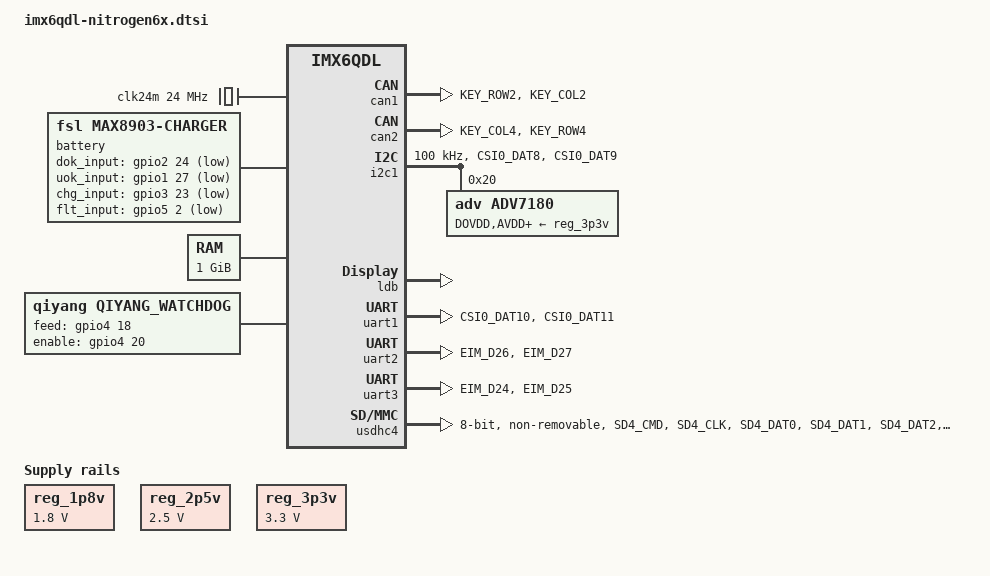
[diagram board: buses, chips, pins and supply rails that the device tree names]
/*
 * Copyright 2013-2016 Boundary Devices, Inc.
 * Copyright 2011-2015 Freescale Semiconductor, Inc.
 * Copyright 2011 Linaro Ltd.
 *
 * The code contained herein is licensed under the GNU General Public
 * License. You may obtain a copy of the GNU General Public License
 * Version 2 or later at the following locations:
 *
 * http://www.opensource.org/licenses/gpl-license.html
 * http://www.gnu.org/copyleft/gpl.html
 */
#include <dt-bindings/gpio/gpio.h>
#include <dt-bindings/input/input.h>

&iomuxc {
	pinctrl-names = "default";
	pinctrl-0 = <&pinctrl_hog>;

	iomuxc_imx6q_nitrogen6x: iomuxc-imx6q-nitrogen6xgrp {
		status = "okay";
	};
};

&iomuxc_imx6q_nitrogen6x {	
	
	pinctrl_flexcan1: flexcan1grp {
		fsl,pins = <
			MX6QDL_PAD_KEY_ROW2__FLEXCAN1_RX        0x17059
			MX6QDL_PAD_KEY_COL2__FLEXCAN1_TX	0x17059
		>;
	};

	pinctrl_flexcan2: flexcan2grp {
		fsl,pins = <
			MX6QDL_PAD_KEY_COL4__FLEXCAN2_TX	0x17059
			MX6QDL_PAD_KEY_ROW4__FLEXCAN2_RX	0x17059
		>;
	};


	pinctrl_hog: hoggrp {
		fsl,pins = <
			MX6QDL_PAD_NANDF_CS0__GPIO6_IO11 0x80000000	//U29 LM4871 control
			MX6QDL_PAD_NANDF_CS1__GPIO6_IO14 0x80000000	//U30 LM4871 control
			MX6QDL_PAD_GPIO_2__GPIO1_IO02 0x80000000	//buzzer
		    MX6QDL_PAD_DI0_PIN2__GPIO4_IO18 0x80000000	//feed_dog pin
			MX6QDL_PAD_DI0_PIN4__GPIO4_IO20 0x80000000	//enable pin
		>;
	};

	pinctrl_i2c1: i2c1grp {
		fsl,pins = <
			MX6QDL_PAD_CSI0_DAT8__I2C1_SDA		0x4001b8b1
			MX6QDL_PAD_CSI0_DAT9__I2C1_SCL		0x4001b8b1
		>;
	};

	pinctrl_i2c3_adv7180_gpios: i2c3-adv7180_gpiosgrp {
		fsl,pins = <
			/* No data enable pin, make sure it is not selected */
			// MX6QDL_PAD_EIM_DA10__GPIO3_IO10		0x0b0b1
#define GP_ADV7180_PWN		<&gpio5 20 GPIO_ACTIVE_LOW>
			MX6QDL_PAD_CSI0_DATA_EN__GPIO5_IO20 0x80000000
		>;
	};

	pinctrl_i2c3_adv7180: i2c3-adv7180grp {
		/* parallel camera on CSI1, pins differ for iMX6Q/iMX6DL */
	};

	pinctrl_i2c3_adv7180_cea861: i2c3-adv7180_cea861grp {
		/* parallel camera on CSI1, pins differ for iMX6Q/iMX6DL */
	};

	pinctrl_i2c3_adv7180_no_cea861: i2c3-adv7180_no_cea861grp {
		
	};

	
	pinctrl_uart1: uart1grp {
		fsl,pins = <
			MX6QDL_PAD_CSI0_DAT10__UART1_TX_DATA	0x1b0b1
			MX6QDL_PAD_CSI0_DAT11__UART1_RX_DATA	0x1b0b1
		>;
	};

        pinctrl_uart2: uart2grp {
		fsl,pins = <
			MX6QDL_PAD_EIM_D26__UART2_TX_DATA       0x1b0b1
			MX6QDL_PAD_EIM_D27__UART2_RX_DATA       0x1b0b1
		>;
	};

        pinctrl_uart3: uart3grp {
		fsl,pins = <
			MX6QDL_PAD_EIM_D24__UART3_TX_DATA       0x1b0b1
			MX6QDL_PAD_EIM_D25__UART3_RX_DATA       0x1b0b1
		>;
	};

	
	pinctrl_usdhc4: usdhc4grp {
		fsl,pins = <
			MX6QDL_PAD_SD4_CMD__SD4_CMD		0x17059
			MX6QDL_PAD_SD4_CLK__SD4_CLK		0x10059
			MX6QDL_PAD_SD4_DAT0__SD4_DATA0		0x17059
			MX6QDL_PAD_SD4_DAT1__SD4_DATA1		0x17059
			MX6QDL_PAD_SD4_DAT2__SD4_DATA2		0x17059
			MX6QDL_PAD_SD4_DAT3__SD4_DATA3		0x17059
			MX6QDL_PAD_SD4_DAT4__SD4_DATA4		0x17059
			MX6QDL_PAD_SD4_DAT5__SD4_DATA5		0x17059
			MX6QDL_PAD_SD4_DAT6__SD4_DATA6		0x17059
			MX6QDL_PAD_SD4_DAT7__SD4_DATA7		0x17059
		>;
	};
};

/ {
	aliases {
		fb_lvds = &fb_lvds;
		ldb = &ldb;
		mmc3 = &usdhc4;
		serial0 = &uart1;
		serial1 = &uart2;
		serial2 = &uart3;
		mxcfb0 = &fb_lvds;

		can0 = &can1;
		can1 = &can2;
		i2c0 = &i2c1;
	};
	
	/*
	backlight_lcd: backlight_lcd {
		brightness-levels = <0 1 2 3 4 5 6 7 8 9 10>;
		compatible = "pwm-backlight";
		default-brightness-level = <8>;
		display = <&fb_lcd>;
		power-supply = <&reg_3p3v>;
		pwms = <&pwm1 0 5000000>;
		status = "disabled";
	};

	backlight_lvds: backlight_lvds {
		brightness-levels = <0 1 2 3 4 5 6 7 8 9 10>;
		compatible = "pwm-backlight";
		default-brightness-level = <8>;
		display = <&fb_lvds>;
		power-supply = <&reg_3p3v>;
		pwms = <&pwm4 0 5000000>;
		status = "disabled";
	};
	*/

	/* bluetooth */
	/*bt_rfkill {
		compatible = "net,rfkill-gpio";
		pinctrl-names = "default";
		pinctrl-0 = <&pinctrl_bt_rfkill>;
		name = "bt_rfkill";
		type = <2>;	
		reset-gpios = GP_BT_RFKILL_RESET;
	};*/

	chosen {
		stdout-path = &uart1;
		bootargs="noinitrd console=ttymxc0,115200 root=/dev/mmcblk3p2 rootwait ro quiet";
	};

	clocks {
		clk24m: clk24m {
			compatible = "fixed-clock";
			#clock-cells = <0>;
			clock-frequency = <24000000>;
		};
	};

	fb_lvds: fb@0 {
		compatible = "fsl,mxc_sdc_fb";
		disp_dev = "ldb";
		interface_pix_fmt = "RGB24";
		mode_str ="1920x720M@60";
		default_bpp = <32>;
		int_clk = <0>;
		late_init = <0>;
		status = "okay";
	};

	/*
	gpio-keys {
		compatible = "gpio-keys";
		pinctrl-names = "default";
		pinctrl-0 = <&pinctrl_gpio_keys>;

		back {
			label = "Back";
			gpios = GP_GPIOKEY_BACK;
			linux,code = <KEY_BACK>;
		};

		home {
			label = "Home";
			gpios = GP_GPIOKEY_HOME;
			linux,code = <KEY_HOMEPAGE>;
		};

		menu {
			label = "Menu";
			gpios = GP_GPIOKEY_MENU;
			linux,code = <KEY_MENU>;
		};

		power {
			label = "Power Button";
			gpios = GP_GPIOKEY_POWER;
			linux,code = <KEY_POWER>;
			gpio-key,wakeup;
		};

		volume-down {
			label = "Volume Down";
			gpios = GP_GPIOKEY_VOL_DN;
			linux,code = <KEY_VOLUMEDOWN>;
		};

		volume-up {
			label = "Volume Up";
			gpios = GP_GPIOKEY_VOL_UP;
			linux,code = <KEY_VOLUMEUP>;
		};
	};

	lcd: lcd@0 {
		compatible = "fsl,lcd";
		ipu_id = <0>;
		disp_id = <0>;
		default_ifmt = "RGB666";
		pinctrl-names = "default", "rgb24";
		pinctrl-0 = <&pinctrl_lcd0_rgb>;
		pinctrl-1 = <&pinctrl_lcd0_rgb &pinctrl_lcd0_rgb24>;
		status = "okay";
	};*/

	battery: max8903@0 {
		compatible = "fsl,max8903-charger";
		pinctrl-names = "default";
		dok_input = <&gpio2 24 1>;
		uok_input = <&gpio1 27 1>;
		chg_input = <&gpio3 23 1>;
		flt_input = <&gpio5 2 1>;
		fsl,dcm_always_high;
		fsl,dc_valid;
		fsl,usb_valid;
		status = "okay";
	};

	memory {
		reg = <0x10000000 0x40000000>;
	};

	watchdog {
		compatible = "qiyang,qiyang_watchdog";
		feed-gpios = <&gpio4 18 0>;
		enable-gpios = <&gpio4 20 0>;
		status = "okay";
	};

	regulators {
		compatible = "simple-bus";
		#address-cells = <1>;
		#size-cells = <0>;

		reg_1p8v: regulator@0 {
			compatible = "regulator-fixed";
			reg = <0>;
			regulator-name = "1P8V";
			regulator-min-microvolt = <1800000>;
			regulator-max-microvolt = <1800000>;
			regulator-always-on;
		};

		reg_2p5v: regulator@1 {
			compatible = "regulator-fixed";
			reg = <1>;
			regulator-name = "2P5V";
			regulator-min-microvolt = <2500000>;
			regulator-max-microvolt = <2500000>;
			regulator-always-on;
		};

		reg_3p3v: regulator@2 {
			compatible = "regulator-fixed";
			reg = <2>;
			regulator-name = "3P3V";
			regulator-min-microvolt = <3300000>;
			regulator-max-microvolt = <3300000>;
			regulator-always-on;
		};


	};

	sound {
		compatible = "fsl,imx-audio-tlv320aic3x",
			 "fsl,imx-audio-tlv320aic3x";
		model = "tlv320aic3x-audio";
		cpu-dai = <&ssi1>;
		//audio-codec = <&codec>;
		asrc-controller = <&asrc>;
		audio-routing =
				"Headphone Jack", "HPOUTL",
				"Headphone Jack", "HPOUTR",
			"Ext Spk", "SPKOUTL",
				"Ext Spk", "SPKOUTR",
				"AMIC", "MICBIAS",
				"IN3R", "AMIC",
				"DMIC", "MICBIAS",
				"DMICDAT", "DMIC",
				"CPU-Playback", "ASRC-Playback",
				"Playback", "CPU-Playback",
				"ASRC-Capture", "CPU-Capture",
				"CPU-Capture", "Capture";
		mux-int-port = <1>;
		mux-ext-port = <3>;
	};

	sound-hdmi {
		compatible = "fsl,imx6q-audio-hdmi",
			     "fsl,imx-audio-hdmi";
		model = "imx-audio-hdmi";
		hdmi-controller = <&hdmi_audio>;
	};

	sound-hdmi-input {
		status = "disabled";
	};

	v4l2_cap_0: v4l2_cap_0 {
		compatible = "fsl,imx6q-v4l2-capture";
		ipu_id = <0>;
		csi_id = <0>;
		mclk_source = <0>;
		status = "okay";
	};

	v4l2_cap_1: v4l2_cap_1 {
		compatible = "fsl,imx6q-v4l2-capture";
		ipu_id = <0>;
		csi_id = <1>;
		mipi_camera = <1>;
		mclk_source = <0>;
		status = "okay";
	};

	v4l2_cap_2: v4l2_cap_2 {
		compatible = "fsl,imx6q-v4l2-capture";
		ipu_id = <0>;
		csi_id = <1>;
		mclk_source = <0>;
		status = "okay";
	};

	v4l2_cap_3: v4l2_cap_3 {
		compatible = "fsl,imx6q-v4l2-capture";
		ipu_id = <0>;
		csi_id = <0>;
		mipi_camera = <1>;
		mclk_source = <0>;
		status = "okay";
	};

	v4l2_out {
		compatible = "fsl,mxc_v4l2_output";
		status = "okay";
	};
};

&audmux {
	status = "disabled";
};

&can1 {
	pinctrl-names = "default";
	pinctrl-0 = <&pinctrl_flexcan1>;
	status = "okay";
};

&can2 {
	pinctrl-names = "default";
	pinctrl-0 = <&pinctrl_flexcan2>;
	status = "okay";
};

&ecspi1 {
	status = "disabled";

};

&fec {
	status = "disabled";
};

&hdmi_audio {
	status = "disabled";
};

&hdmi_core {
	status = "disabled";
};

&hdmi_video {
	status = "disabled";
};

&i2c1 {
	clock-frequency = <100000>;
	pinctrl-names = "default";
	pinctrl-0 = <&pinctrl_i2c1>;
	status = "okay";

	adv7180: adv7180@20 {
		compatible = "adv,adv7180";
		reg = <0x20>;
		pinctrl-names = "default", "no_cea861", "cea861";
		pinctrl-0 = <&pinctrl_i2c3_adv7180 &pinctrl_i2c3_adv7180_gpios>;
		pinctrl-1 = <&pinctrl_i2c3_adv7180_no_cea861>;
		pinctrl-2 = <&pinctrl_i2c3_adv7180_cea861>;
		cea861 = <0>;
		DOVDD-supply = <&reg_3p3v>; /* 3.3v, enabled via 2.8 VGEN6 */
		AVDD-supply = <&reg_3p3v>;  /* 1.8v */
		DVDD-supply = <&reg_3p3v>;  /* 1.8v */
		PVDD-supply = <&reg_3p3v>;  /* 1.8v */
		pwn-gpios = GP_ADV7180_PWN;
		csi_id = <1>;
		//mclk = <28636300>;
		mclk = <24000000>;
		mclk_source = <0>;
		cvbs = <1>;
	};
};

&i2c2 {
	status = "disabled";
};

&i2c3 {
	status = "disabled";
};

&ldb {
	status = "okay";
	split-mode;

	lvds-channel@0 {
		crtc = "ipu1-di1";
		fsl,data-mapping = "spwg";
		fsl,data-width = <24>;
		status = "okay";

		display-timings {
			native-mode = <&timing0>;
			timing0: dj123ia {
				clock-frequency = <44100000>;
				hactive = <1920>;
				vactive = <720>;
				hback-porch = <18>;
				hfront-porch = <14>;
				vback-porch = <11>;
				vfront-porch = <10>;
				hsync-len = <22>;
				vsync-len = <1>;

				/*clock-frequency = <44100000>;
				hactive = <1920>;
				vactive = <720>;
				hback-porch = <18>;
				hfront-porch = <14>;
				vback-porch = <11>;
				vfront-porch = <10>;
				hsync-len = <22>;
				vsync-len = <1>;*/
			};
		};
	};
};

&mipi_csi {
	status = "disabled";
};

&pcie {
	status = "disabled";
};

&pwm1 {
	status = "disabled";
};

&pwm3 {
	status = "disabled";
};

&pwm4 {
	status = "disabled";
};

&ssi1 {
	status = "disabled";
};

&ssi2 {
	status = "disabled";
};

&uart1 {
	pinctrl-names = "default";
	pinctrl-0 = <&pinctrl_uart1>;
	status = "okay";
};

&uart2 {
	pinctrl-names = "default";
	pinctrl-0 = <&pinctrl_uart2>;
	status = "okay";
};

&uart3 {
	pinctrl-names = "default";
	pinctrl-0 = <&pinctrl_uart3>;
	fsl,uart-has-rtscts;
	status = "okay";
};

&usbh1 {
	status = "disabled";
};

&usbotg {
	status = "disabled";
};

&usdhc2 {	/* uSDHC2, TiWi wl1271 */
	status = "disabled";
};

&usdhc3 {
	status = "disabled";
};


&usdhc4 {
	pinctrl-names = "default";
	pinctrl-0 = <&pinctrl_usdhc4>;
	bus-width = <8>;
	non-removable;
	no-1-8-v;
	keep-power-in-suspend; 
	status = "okay";
};
